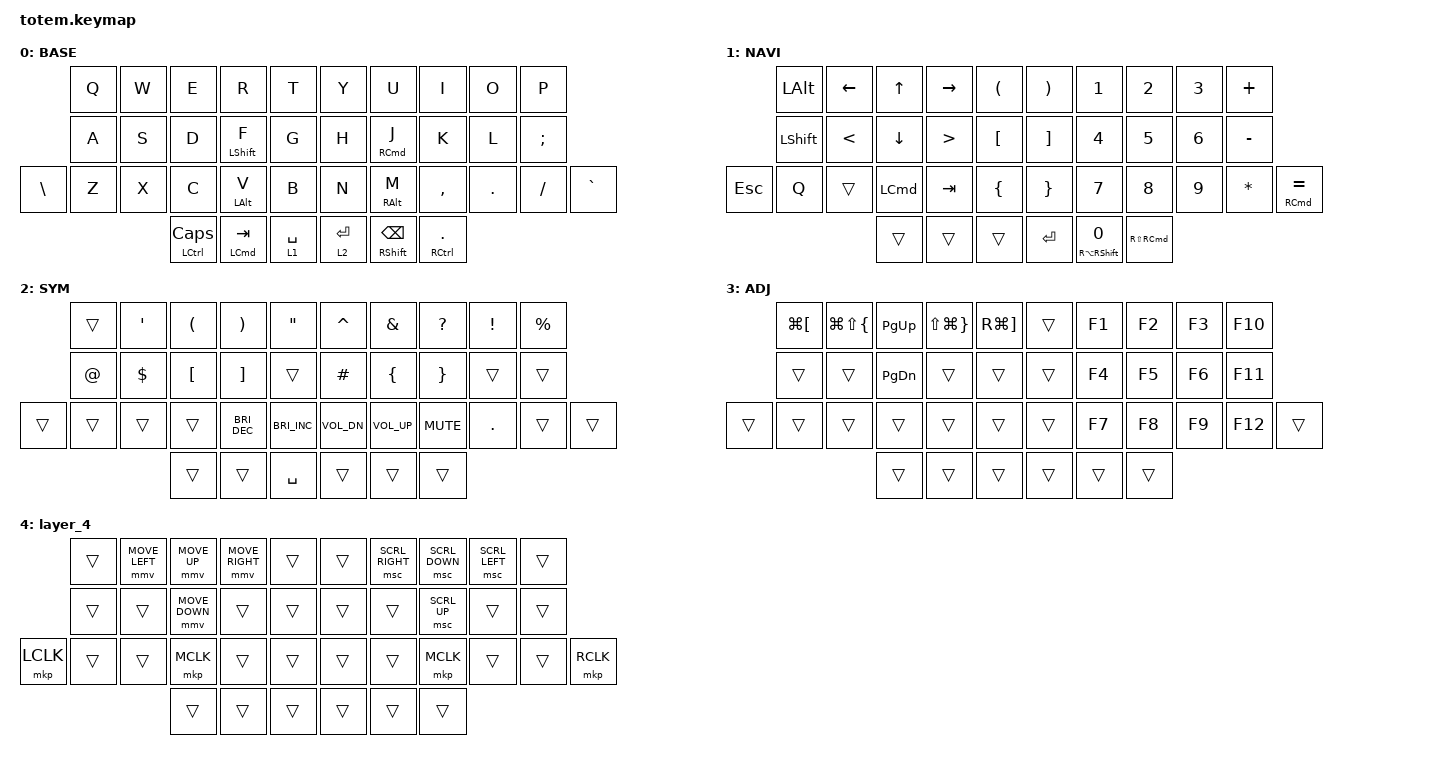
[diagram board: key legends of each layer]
//
//                                                        ▀▀▀▀▀     ▀▀▀▀▀          ▀▀█▀▀
//                                                        ▄▀▀▀▄  ▄  ▄▀▀▀▄  ▄  ▄▀▀▀▄  █  ▄▀▀▀▄
//                                                        █   █  █  █   █  █  █   █  █  █   █
//                                                         ▀▀▀   █   ▀▀▀   █   ▀▀▀   ▀   ▀▀▀
//                                                               █      ▄▄▄█▄▄▄    █   █
//                                                               ▀      █  █  █     █▄█
//                                                             ▀▀▀▀▀    █  █  █      ▀
//                                                                      ▀  ▀  ▀
//
// ▄▄▄▄▄▄▄▄▄▄▄▄▄▄▄▄▄▄▄▄▄▄▄▄▄▄▄▄▄▄▄▄▄▄▄▄▄▄▄▄▄▄▄▄▄▄▄▄▄▄▄▄▄▄▄▄▄▄▄▄▄▄▄▄▄▄▄▄▄▄▄▄▄▄▄▄▄▄▄▄▄▄▄▄▄▄▄▄▄▄▄▄▄▄▄▄▄▄▄▄▄▄▄▄▄▄▄▄▄▄▄▄▄▄▄▄▄▄▄▄▄▄▄▄▄▄▄▄▄▄▄▄▄▄▄▄▄▄▄▄▄▄▄▄▄▄▄▄▄

#include <behaviors.dtsi>
#include <dt-bindings/zmk/keys.h>
#include <dt-bindings/zmk/pointing.h>

#define ZMK_POINTING_DEFAULT_MOVE_VAL 700  // default: 600
#define ZMK_POINTING_DEFAULT_SCRL_VAL 11    // default: 10
#define BASE 0
#define NAV  1
#define SYM  2
#define ADJ  3

&mt {
    quick-tap-ms = <100>;
    global-quick-tap;
    flavor = "tap-preferred";
    tapping-term-ms = <170>;
};

/ {
    combos {
        compatible = "zmk,combos";

        combo_esc {
            timeout-ms = <50>;
            key-positions = <0 1>;
            bindings = <&kp ESC>;
        };

        efewf {
            bindings = <&lt 4 CAPSLOCK>;
            key-positions = <16 17 18>;
        };

        layer3 {
            bindings = <&mo 3>;
            key-positions = <35 34>;
        };

        layer4 {
            bindings = <&mo 4>;
            key-positions = <32 37>;
        };

        underscore {
            bindings = <&kp UNDERSCORE>;
            key-positions = <15 16>;
        };

        dash {
            bindings = <&kp MINUS>;
            key-positions = <5 6>;
        };

        shift+enter {
            bindings = <&kp RS(ENTER)>;
            key-positions = <26 27>;
        };

        screenshot {
            bindings = <&kp LS(LG(NUMBER_4))>;
            key-positions = <20 34 35>;
        };

        screenshot2 {
            bindings = <&kp LS(LG(NUMBER_5))>;
            key-positions = <0 34 35>;
        };
    };

    macros {
        gif: gif {
            label = "giphy";
            compatible = "zmk,behavior-macro";
            #binding-cells = <0>;
            bindings =
                <&macro_press>,
                <&kp LSHFT>,
                <&macro_tap>,
                <&kp N2>,
                <&macro_release>,
                <&kp LSHFT>,
                <&macro_tap>,
                <&kp G &kp I &kp F>;
        };
    };

    keymap {
        compatible = "zmk,keymap";

        // ▄▄▄▄▄▄▄▄▄▄▄▄▄▄▄▄▄▄▄▄▄▄▄▄▄▄▄▄▄▄▄▄▄▄▄▄▄▄▄▄▄▄▄▄▄▄▄▄▄▄▄▄▄▄▄▄▄▄▄▄▄▄▄▄▄▄▄▄▄▄▄▄▄▄▄▄▄▄▄▄▄▄▄▄▄▄▄▄▄▄▄▄▄▄▄▄▄▄▄▄▄▄▄▄▄▄▄▄▄▄▄▄▄▄▄▄▄▄▄▄▄▄▄▄▄▄▄▄▄▄▄▄▄▄▄▄▄▄▄▄▄▄▄▄▄▄▄▄▄

        base_layer {
            // ┏━━━━━━━━━━━━━━━━━━━━━━━━━━━━━━━━━━━━━━━┓

            label = "BASE";

            // ┗━━━━━━━━━━━━━━━━━━━━━━━━━━━━━━━━━━━━━━━┛
            //             ┏━━━━━━━━━━━┳━━━━━━━━━━━┳━━━━━━━━━━━┳━━━━━━━━━━━┳━━━━━━━━━━━┓   ┏━━━━━━━━━━━┳━━━━━━━━━━━┳━━━━━━━━━━━┳━━━━━━━━━━━┳━━━━━━━━━━━┓
            //             ┃     Q     ┃     W     ┃     F     ┃     P     ┃     G     ┃   ┃     J     ┃     L     ┃     U     ┃     Y     ┃     ;     ┃
            //             ┣━━━━━━━━━━━╋━━━━━━━━━━━╋━━━━━━━━━━━╋━━━━━━━━━━━╋━━━━━━━━━━━┫   ┣━━━━━━━━━━━╋━━━━━━━━━━━╋━━━━━━━━━━━╋━━━━━━━━━━━╋━━━━━━━━━━━┫
            //             ┃     A     ┃     R     ┃     S     ┃     T     ┃     D     ┃   ┃     H     ┃     N     ┃     E     ┃     I     ┃     O     ┃
            // ┏━━━━━━━━━━━╋━━━━━━━━━━━╋━━━━━━━━━━━╋━━━━━━━━━━━╋━━━━━━━━━━━╋━━━━━━━━━━━┫   ┣━━━━━━━━━━━╋━━━━━━━━━━━╋━━━━━━━━━━━╋━━━━━━━━━━━╋━━━━━━━━━━━╋━━━━━━━━━━━┓
            // ┃           ┃     Z     ┃     X     ┃     C     ┃     V     ┃     B     ┃   ┃     K     ┃     M     ┃     ,     ┃     .     ┃     /     ┃           ┃
            // ┗━━━━━━━━━━━┻━━━━━━━━━━━┻━━━━━━━━━━━╋━━━━━━━━━━━╋━━━━━━━━━━━╋━━━━━━━━━━━┫   ┣━━━━━━━━━━━╋━━━━━━━━━━━╋━━━━━━━━━━━╋━━━━━━━━━━━┻━━━━━━━━━━━┻━━━━━━━━━━━┛
            //                                     ┃           ┃    TAB    ┃    SPC    ┃   ┃   ENTER   ┃   BSPC    ┃           ┃
            //                                     ┗━━━━━━━━━━━┻━━━━━━━━━━━┻━━━━━━━━━━━┛   ┗━━━━━━━━━━━┻━━━━━━━━━━━┻━━━━━━━━━━━┛

            bindings = <
               &kp Q  &kp W  &kp E                      &kp R                 &kp T          &kp Y        &kp U                      &kp I                     &kp O    &kp P
               &kp A  &kp S  &kp D                      &mt LSHFT F           &kp G          &kp H        &mt RIGHT_COMMAND J        &kp K                     &kp L    &kp SEMI
&kp BACKSLASH  &kp Z  &kp X  &kp C                      &mt LEFT_ALT V        &kp B          &kp N        &mt RIGHT_ALT M            &kp COMMA                 &kp DOT  &kp FSLH  &kp GRAVE
                             &mt LEFT_CONTROL CAPSLOCK  &mt LEFT_COMMAND TAB  &lt 1 SPACE    &lt 2 ENTER  &mt RIGHT_SHIFT BACKSPACE  &mt RIGHT_CONTROL PERIOD
            >;
        };

        // ▄▄▄▄▄▄▄▄▄▄▄▄▄▄▄▄▄▄▄▄▄▄▄▄▄▄▄▄▄▄▄▄▄▄▄▄▄▄▄▄▄▄▄▄▄▄▄▄▄▄▄▄▄▄▄▄▄▄▄▄▄▄▄▄▄▄▄▄▄▄▄▄▄▄▄▄▄▄▄▄▄▄▄▄▄▄▄▄▄▄▄▄▄▄▄▄▄▄▄▄▄▄▄▄▄▄▄▄▄▄▄▄▄▄▄▄▄▄▄▄▄▄▄▄▄▄▄▄▄▄▄▄▄▄▄▄▄▄▄▄▄▄▄▄▄▄▄▄▄

        nav_layer {
            // ┏━━━━━━━━━━━━━━━━━━━━━━━━━━━━━━━━━━━━━━━┓

            label = "NAVI";

            // ┗━━━━━━━━━━━━━━━━━━━━━━━━━━━━━━━━━━━━━━━┛
            //             ┏━━━━━━━━━━━┳━━━━━━━━━━━┳━━━━━━━━━━━┳━━━━━━━━━━━┳━━━━━━━━━━━┓   ┏━━━━━━━━━━━┳━━━━━━━━━━━┳━━━━━━━━━━━┳━━━━━━━━━━━┳━━━━━━━━━━━┓
            //             ┃           ┃           ┃     UP    ┃           ┃     {     ┃   ┃     }     ┃     7     ┃     8     ┃     9     ┃     +     ┃
            //             ┣━━━━━━━━━━━╋━━━━━━━━━━━╋━━━━━━━━━━━╋━━━━━━━━━━━╋━━━━━━━━━━━┫   ┣━━━━━━━━━━━╋━━━━━━━━━━━╋━━━━━━━━━━━╋━━━━━━━━━━━╋━━━━━━━━━━━┫
            //             ┃   SHIFT   ┃   LEFT    ┃    DOWN   ┃   RIGHT   ┃     [     ┃   ┃     ]     ┃     4     ┃     5     ┃     6     ┃     -     ┃
            // ┏━━━━━━━━━━━╋━━━━━━━━━━━╋━━━━━━━━━━━╋━━━━━━━━━━━╋━━━━━━━━━━━╋━━━━━━━━━━━┫   ┣━━━━━━━━━━━╋━━━━━━━━━━━╋━━━━━━━━━━━╋━━━━━━━━━━━╋━━━━━━━━━━━╋━━━━━━━━━━━┓
            // ┃           ┃           ┃   P UP    ┃  C LOCK   ┃  P DOWN   ┃     (     ┃   ┃     )     ┃     1     ┃     2     ┃     3     ┃     *     ┃           ┃
            // ┗━━━━━━━━━━━┻━━━━━━━━━━━┻━━━━━━━━━━━╋━━━━━━━━━━━╋━━━━━━━━━━━╋━━━━━━━━━━━┫   ┣━━━━━━━━━━━╋━━━━━━━━━━━╋━━━━━━━━━━━╋━━━━━━━━━━━┻━━━━━━━━━━━┻━━━━━━━━━━━┛
            //                                     ┃           ┃    TAB    ┃    SPC    ┃   ┃    DEL    ┃     0     ┃           ┃
            //                                     ┗━━━━━━━━━━━┻━━━━━━━━━━━┻━━━━━━━━━━━┛   ┗━━━━━━━━━━━┻━━━━━━━━━━━┻━━━━━━━━━━━┛

            bindings = <
            &kp LEFT_ALT    &kp LEFT_ARROW  &kp UP            &kp RIGHT_ARROW   &kp LEFT_PARENTHESIS    &kp RIGHT_PARENTHESIS  &kp NUMBER_1                  &kp NUMBER_2           &kp NUMBER_3  &kp PLUS
            &kp LEFT_SHIFT  &kp LESS_THAN   &kp DOWN_ARROW    &kp GREATER_THAN  &kp LEFT_BRACKET        &kp RIGHT_BRACKET      &kp NUMBER_4                  &kp NUMBER_5           &kp NUMBER_6  &kp MINUS
&kp ESCAPE  &kp Q           &trans          &kp LEFT_COMMAND  &kp TAB           &kp LEFT_BRACE          &kp RIGHT_BRACE        &kp NUMBER_7                  &kp NUMBER_8           &kp NUMBER_9  &kp ASTERISK  &mt RIGHT_COMMAND EQUAL
                                            &trans            &trans            &trans                  &kp RETURN             &mt RA(RIGHT_SHIFT) NUMBER_0  &kp RS(RIGHT_COMMAND)
            >;
        };

        // ▄▄▄▄▄▄▄▄▄▄▄▄▄▄▄▄▄▄▄▄▄▄▄▄▄▄▄▄▄▄▄▄▄▄▄▄▄▄▄▄▄▄▄▄▄▄▄▄▄▄▄▄▄▄▄▄▄▄▄▄▄▄▄▄▄▄▄▄▄▄▄▄▄▄▄▄▄▄▄▄▄▄▄▄▄▄▄▄▄▄▄▄▄▄▄▄▄▄▄▄▄▄▄▄▄▄▄▄▄▄▄▄▄▄▄▄▄▄▄▄▄▄▄▄▄▄▄▄▄▄▄▄▄▄▄▄▄▄▄▄▄▄▄▄▄▄▄▄▄

        sim_layer {
            // ┏━━━━━━━━━━━━━━━━━━━━━━━━━━━━━━━━━━━━━━━┓

            label = "SYM";

            // ┗━━━━━━━━━━━━━━━━━━━━━━━━━━━━━━━━━━━━━━━┛
            //             ┏━━━━━━━━━━━┳━━━━━━━━━━━┳━━━━━━━━━━━┳━━━━━━━━━━━┳━━━━━━━━━━━┓   ┏━━━━━━━━━━━┳━━━━━━━━━━━┳━━━━━━━━━━━┳━━━━━━━━━━━┳━━━━━━━━━━━┓
            //             ┃     !     ┃     @     ┃     #     ┃     $     ┃     %     ┃   ┃     ˆ     ┃     &     ┃     Ü     ┃     '     ┃     "     ┃
            //             ┣━━━━━━━━━━━╋━━━━━━━━━━━╋━━━━━━━━━━━╋━━━━━━━━━━━╋━━━━━━━━━━━┫   ┣━━━━━━━━━━━╋━━━━━━━━━━━╋━━━━━━━━━━━╋━━━━━━━━━━━╋━━━━━━━━━━━┫
            //             ┃     Ä     ┃           ┃    SZ     ┃           ┃           ┃   ┃   MUTE    ┃   YEN     ┃   EURO    ┃  POUND    ┃     Ö     ┃
            // ┏━━━━━━━━━━━╋━━━━━━━━━━━╋━━━━━━━━━━━╋━━━━━━━━━━━╋━━━━━━━━━━━╋━━━━━━━━━━━┫   ┣━━━━━━━━━━━╋━━━━━━━━━━━╋━━━━━━━━━━━╋━━━━━━━━━━━╋━━━━━━━━━━━╋━━━━━━━━━━━┓
            // ┃           ┃  EMAIL1   ┃  EMAIL2   ┃           ┃           ┃           ┃   ┃   VOL-    ┃   VOL+    ┃   LAST    ┃   NEXT    ┃     \     ┃           ┃
            // ┗━━━━━━━━━━━┻━━━━━━━━━━━┻━━━━━━━━━━━╋━━━━━━━━━━━╋━━━━━━━━━━━╋━━━━━━━━━━━┫   ┣━━━━━━━━━━━╋━━━━━━━━━━━╋━━━━━━━━━━━╋━━━━━━━━━━━┻━━━━━━━━━━━┻━━━━━━━━━━━┛
            //                                     ┃           ┃    GIF    ┃    ADJ    ┃   ┃           ┃           ┃           ┃
            //                                     ┗━━━━━━━━━━━┻━━━━━━━━━━━┻━━━━━━━━━━━┛   ┗━━━━━━━━━━━┻━━━━━━━━━━━┻━━━━━━━━━━━┛

            bindings = <
        &trans       &kp SINGLE_QUOTE  &kp LEFT_PARENTHESIS  &kp RIGHT_PARENTHESIS  &kp DOUBLE_QUOTES       &kp CARET     &kp AMPS        &kp QUESTION     &kp EXCLAMATION  &kp PERCENT
        &kp AT_SIGN  &kp DOLLAR        &kp LEFT_BRACKET      &kp RIGHT_BRACKET      &trans                  &kp HASH      &kp LEFT_BRACE  &kp RIGHT_BRACE  &trans           &trans
&trans  &trans       &trans            &trans                &kp C_BRIGHTNESS_DEC   &kp C_BRIGHTNESS_INC    &kp C_VOL_DN  &kp C_VOL_UP    &kp C_MUTE       &kp PERIOD       &trans       &trans
                                       &trans                &trans                 &kp SPACE               &trans        &trans          &trans
            >;
        };

        // ▄▄▄▄▄▄▄▄▄▄▄▄▄▄▄▄▄▄▄▄▄▄▄▄▄▄▄▄▄▄▄▄▄▄▄▄▄▄▄▄▄▄▄▄▄▄▄▄▄▄▄▄▄▄▄▄▄▄▄▄▄▄▄▄▄▄▄▄▄▄▄▄▄▄▄▄▄▄▄▄▄▄▄▄▄▄▄▄▄▄▄▄▄▄▄▄▄▄▄▄▄▄▄▄▄▄▄▄▄▄▄▄▄▄▄▄▄▄▄▄▄▄▄▄▄▄▄▄▄▄▄▄▄▄▄▄▄▄▄▄▄▄▄▄▄▄▄▄▄

        adjust_layer {
            // ┏━━━━━━━━━━━━━━━━━━━━━━━━━━━━━━━━━━━━━━━┓

            label = "ADJ";

            // ┗━━━━━━━━━━━━━━━━━━━━━━━━━━━━━━━━━━━━━━━┛
            //             ┏━━━━━━━━━━━┳━━━━━━━━━━━┳━━━━━━━━━━━┳━━━━━━━━━━━┳━━━━━━━━━━━┓   ┏━━━━━━━━━━━┳━━━━━━━━━━━┳━━━━━━━━━━━┳━━━━━━━━━━━┳━━━━━━━━━━━┓
            //             ┃   RESET   ┃ BT CLEAR  ┃  OUT TOG  ┃           ┃           ┃   ┃           ┃    F7     ┃    F8     ┃    F9     ┃    F12    ┃
            //             ┣━━━━━━━━━━━╋━━━━━━━━━━━╋━━━━━━━━━━━╋━━━━━━━━━━━╋━━━━━━━━━━━┫   ┣━━━━━━━━━━━╋━━━━━━━━━━━╋━━━━━━━━━━━╋━━━━━━━━━━━╋━━━━━━━━━━━┫
            //             ┃ BOOTLOAD  ┃ BT NEXT   ┃           ┃           ┃           ┃   ┃           ┃    F4     ┃    F5     ┃    F6     ┃    F11    ┃
            // ┏━━━━━━━━━━━╋━━━━━━━━━━━╋━━━━━━━━━━━╋━━━━━━━━━━━╋━━━━━━━━━━━╋━━━━━━━━━━━┫   ┣━━━━━━━━━━━╋━━━━━━━━━━━╋━━━━━━━━━━━╋━━━━━━━━━━━╋━━━━━━━━━━━╋━━━━━━━━━━━┓
            // ┃           ┃           ┃ BT PREV   ┃           ┃           ┃           ┃   ┃           ┃    F1     ┃    F2     ┃    F3     ┃    F10    ┃           ┃
            // ┗━━━━━━━━━━━┻━━━━━━━━━━━┻━━━━━━━━━━━╋━━━━━━━━━━━╋━━━━━━━━━━━╋━━━━━━━━━━━┫   ┣━━━━━━━━━━━╋━━━━━━━━━━━╋━━━━━━━━━━━╋━━━━━━━━━━━┻━━━━━━━━━━━┻━━━━━━━━━━━┛
            //                                     ┃           ┃           ┃           ┃   ┃           ┃           ┃           ┃
            //                                     ┗━━━━━━━━━━━┻━━━━━━━━━━━┻━━━━━━━━━━━┛   ┗━━━━━━━━━━━┻━━━━━━━━━━━┻━━━━━━━━━━━┛

            bindings = <
        &kp LG(LEFT_BRACKET)  &kp LG(LS(LEFT_BRACE))  &kp PG_UP      &kp LS(LG(RIGHT_BRACE))  &kp RG(RIGHT_BRACKET)    &trans  &kp F1  &kp F2  &kp F3  &kp F10
        &trans                &trans                  &kp PAGE_DOWN  &trans                   &trans                   &trans  &kp F4  &kp F5  &kp F6  &kp F11
&trans  &trans                &trans                  &trans         &trans                   &trans                   &trans  &kp F7  &kp F8  &kp F9  &kp F12  &trans
                                                      &trans         &trans                   &trans                   &trans  &trans  &trans
            >;
        };

        layer_4 {
            bindings = <
           &trans  &mmv MOVE_LEFT  &mmv MOVE_UP    &mmv MOVE_RIGHT  &trans    &trans  &msc SCRL_RIGHT  &msc SCRL_DOWN  &msc SCRL_LEFT  &trans
           &trans  &trans          &mmv MOVE_DOWN  &trans           &trans    &trans  &trans           &msc SCRL_UP    &trans          &trans
&mkp LCLK  &trans  &trans          &mkp MCLK       &trans           &trans    &trans  &trans           &mkp MCLK       &trans          &trans  &mkp RCLK
                                   &trans          &trans           &trans    &trans  &trans           &trans
            >;
        };
    };
};
